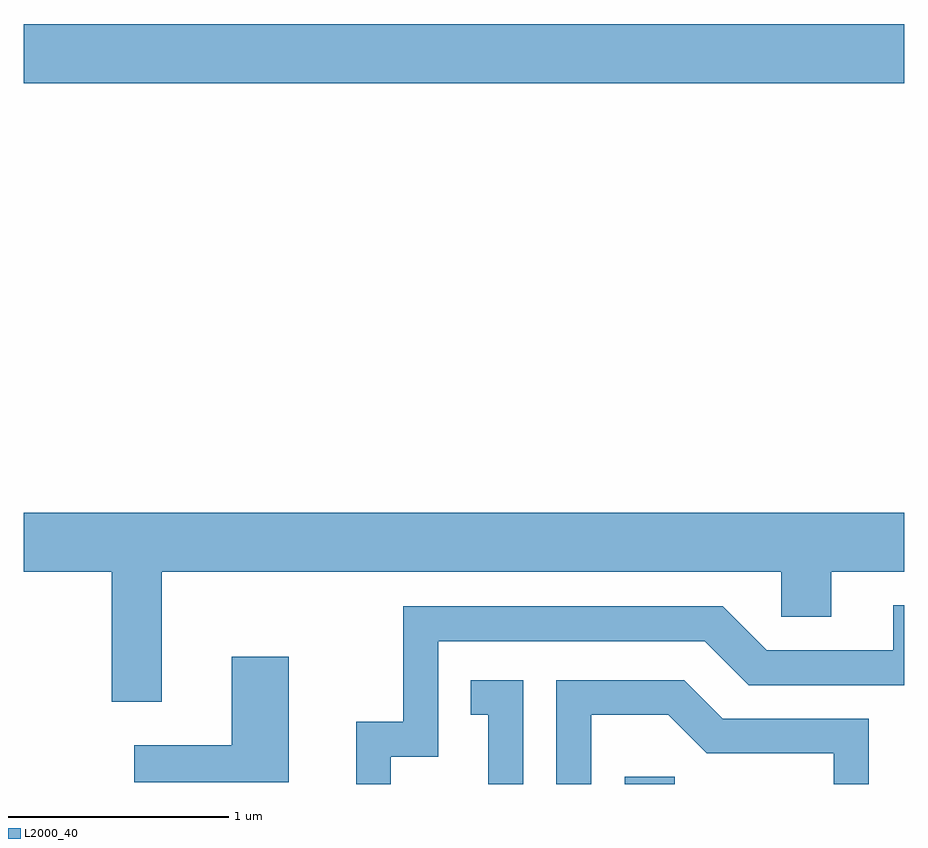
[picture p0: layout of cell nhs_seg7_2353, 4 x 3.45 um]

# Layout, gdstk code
import gdstk
lib = gdstk.Library(unit=1e-6, precision=1e-09)
def R(c, l, rs):  # rectangles x0, y0, x1, y1
    for r in rs: c.add(gdstk.rectangle(r[:2], r[2:], *l))
def P(c, l, *ps):  # polygons
    for p in ps: c.add(gdstk.Polygon(p, *l))
L2000_40 = (2000, 40)

nhs_seg7_2353 = lib.new_cell('nhs_seg7_2353')
R(nhs_seg7_2353, L2000_40, [(260.341,1702.252,260.569,1702.284), (257.611,1705.436,261.611,1705.704)])
P(nhs_seg7_2353, L2000_40, [(258.239,1703.216),(261.051,1703.216),(261.051,1703.011),(261.279,1703.011),(261.279,1703.216),(261.611,1703.216),(261.611,1703.484),(257.611,1703.484),(257.611,1703.216),(258.011,1703.216),(258.011,1702.626),(258.239,1702.626)],
  [(259.279,1702.376),(259.494,1702.376),(259.494,1702.901),(260.704,1702.901),(260.904,1702.701),(261.611,1702.701),(261.611,1703.064),(261.561,1703.064),(261.561,1702.859),(260.986,1702.859),(260.787,1703.059),(259.336,1703.059),(259.336,1702.534),(259.121,1702.534),(259.121,1702.252),(259.279,1702.252)],
  [(258.814,1702.829),(258.556,1702.829),(258.556,1702.429),(258.113,1702.429),(258.113,1702.261),(258.814,1702.261)],
  [(260.189,1702.566),(260.539,1702.566),(260.714,1702.391),(261.291,1702.391),(261.291,1702.252),(261.449,1702.252),(261.449,1702.549),(260.787,1702.549),(260.611,1702.724),(260.031,1702.724),(260.031,1702.252),(260.189,1702.252)],
  [(259.879,1702.724),(259.642,1702.724),(259.642,1702.566),(259.721,1702.566),(259.721,1702.252),(259.879,1702.252)])

lib.write_gds('nhs_seg7_2353.gds')
